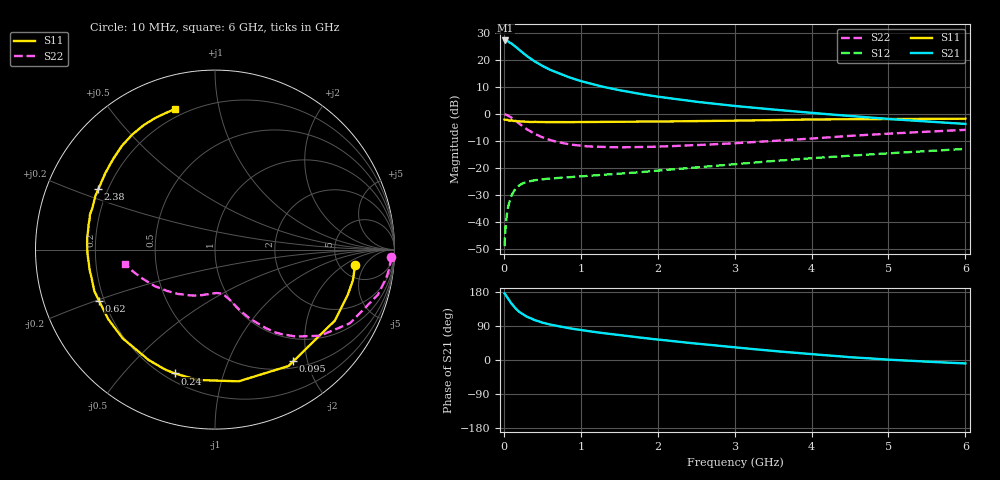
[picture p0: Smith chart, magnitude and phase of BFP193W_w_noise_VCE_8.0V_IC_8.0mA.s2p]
! Infineon Technologies  Discrete & RF Semiconductors
! BFP193W
! VCE = 8.0 V,  IC =  8.0 mA
! Common Emitter S-Parameters:  Jan 2016
# GHz  S  MA  R  50
!  f  S11  S21  S12  S22
! GHz  MAG  ANG  MAG  ANG  MAG  ANG  MAG  ANG
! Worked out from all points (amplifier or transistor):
!   210 points, 10 MHz to 6 GHz, reference 50 ohm
!   highest |S21| = 27.2 dB at 20 MHz (marker M1)
!   |S21| within 3 dB of that: start of sweep to 181 MHz
!   unconditionally stable (mu >= 1): 1.476 GHz to 4.433 GHz
!   at 185 MHz: K = 0.18, MSG = 25.4 dB, |S12| = -26.8 dB
!   at 1.52 GHz: K = 1.02, MAG = 14.6 dB, |S12| = -22.1 dB
!   at 6 GHz: K = 0.92, MSG = 4.6 dB, |S12| = -12.9 dB
!   lowest NFmin = 1.25 dB at 450 MHz
!   S11 on the Smith chart (normalised r, x): 10 MHz: 6.97, -3.04; 95 MHz: 0.60, -1.76; 240 MHz: 0.24, -0.70; 620 MHz: 0.18, -0.20; 2.38 GHz: 0.16, +0.24; 6 GHz: 0.16, +0.74
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0.01  0.7853 -6.1  22.75 175.5  0.0036 88.0  0.9836 -2.4
0.02  0.7872 -12.4  22.8 173.0  0.0072 84.5  0.9757 -6.5
0.05  0.7762 -30.6  22.07 163.2  0.0176 74.8  0.9417 -15.5
0.095  0.7603 -55.0  20.16 150.1  0.0298 63.6  0.8629 -27.2
0.1  0.7671 -57.7  20.02 148.5  0.0312 62.9  0.8566 -28.6
0.15  0.7457 -79.8  17.63 136.4  0.0414 52.9  0.7562 -39.4
0.2  0.7327 -97.4  15.31 127.0  0.0478 46.0  0.6622 -47.0
0.24  0.7254 -108.0  13.76 121.5  0.0517 41.8  0.6004 -51.7
0.3  0.7177 -120.9  11.73 114.1  0.0555 37.2  0.5195 -57.2
0.4  0.7135 -136.2  9.361 105.3  0.0595 32.3  0.4292 -63.3
0.5  0.7102 -147.0  7.742 98.7  0.0622 30.4  0.3701 -67.4
0.62  0.7068 -156.3  6.385 92.8  0.0641 29.2  0.3237 -70.8
0.8  0.7055 -166.2  5.018 85.6  0.0669 29.1  0.2824 -74.8
1.02  0.7079 -174.8  3.981 78.6  0.0701 30.3  0.257 -79.1
1.2  0.7122 179.0  3.402 73.4  0.0731 31.6  0.248 -82.0
1.42  0.7149 173.3  2.902 67.7  0.077 33.7  0.2427 -86.5
2.02  0.7239 159.5  2.067 53.6  0.09 38.8  0.2502 -97.6
2.38  0.732 152.7  1.762 45.9  0.0992 40.8  0.2623 -104.7
3.1  0.7552 139.9  1.363 31.6  0.121 42.9  0.2931 -119.9
4.1  0.7907 124.6  1.018 13.9  0.1553 41.7  0.3587 -141.1
5.1  0.8061 113.3  0.79 -0.1  0.1909 38.1  0.4397 -159.2
6  0.8156 105.8  0.654 -9.1  0.2256 34.2  0.508 -171.2
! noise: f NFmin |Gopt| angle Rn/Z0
0.45  1.25  0.23  133  0.12
0.9  1.3  0.35  156  0.11
1.8  2  0.55  -155  0.13
